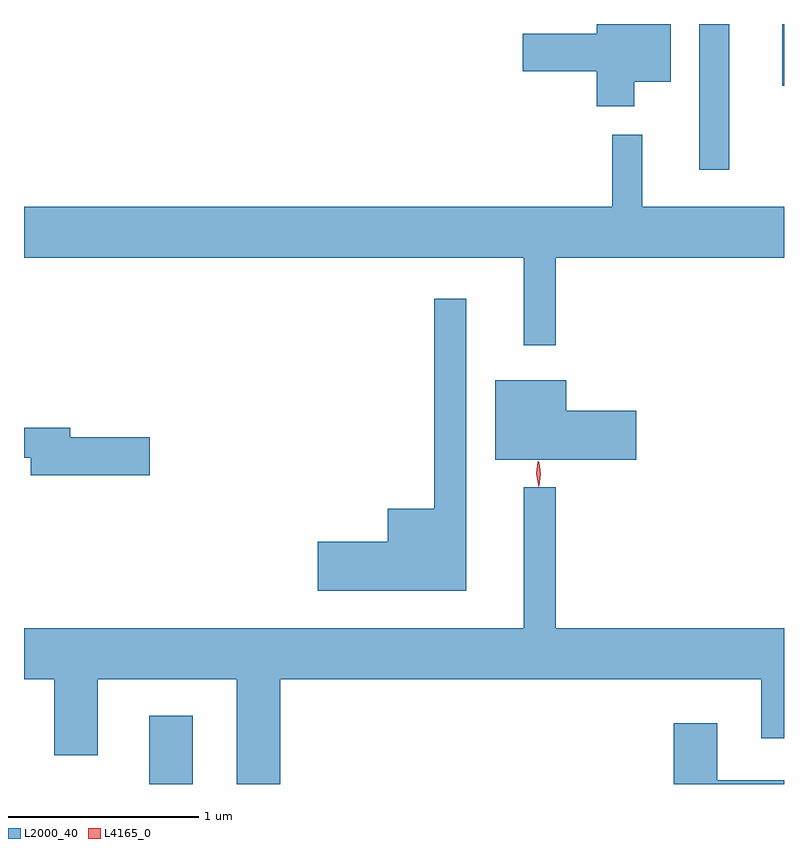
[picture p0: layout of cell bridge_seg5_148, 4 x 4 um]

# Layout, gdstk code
import gdstk
lib = gdstk.Library(unit=1e-6, precision=1e-09)
def R(c, l, rs):  # rectangles x0, y0, x1, y1
    for r in rs: c.add(gdstk.rectangle(r[:2], r[2:], *l))
def P(c, l, *ps):  # polygons
    for p in ps: c.add(gdstk.Polygon(p, *l))
L2000_40 = (2000, 40)
L4165_0 = (4165, 0)

bridge_seg5_148 = lib.new_cell('bridge_seg5_148')
R(bridge_seg5_148, L2000_40, [(1128.311,1407.405,1128.539,1407.764), (1131.206,1410.638,1131.364,1411.405), (1131.641,1411.081,1131.651,1411.405)])
P(bridge_seg5_148, L2000_40, [(1130.864,1411.101),(1131.054,1411.101),(1131.054,1411.405),(1130.666,1411.405),(1130.666,1411.354),(1130.276,1411.354),(1130.276,1411.156),(1130.666,1411.156),(1130.666,1410.971),(1130.864,1410.971)],
  [(1130.449,1410.176),(1131.651,1410.176),(1131.651,1410.444),(1130.904,1410.444),(1130.904,1410.823),(1130.746,1410.823),(1130.746,1410.444),(1127.651,1410.444),(1127.651,1410.176),(1130.281,1410.176),(1130.281,1409.713),(1130.449,1409.713)],
  [(1129.979,1409.958),(1129.811,1409.958),(1129.811,1408.854),(1129.566,1408.854),(1129.566,1408.679),(1129.196,1408.679),(1129.196,1408.421),(1129.979,1408.421)],
  [(1130.874,1409.369),(1130.504,1409.369),(1130.504,1409.529),(1130.131,1409.529),(1130.131,1409.111),(1130.874,1409.111)],
  [(1128.314,1409.229),(1127.894,1409.229),(1127.894,1409.279),(1127.651,1409.279),(1127.651,1409.121),(1127.686,1409.121),(1127.686,1409.031),(1128.314,1409.031)],
  [(1128.999,1407.956),(1131.531,1407.956),(1131.531,1407.646),(1131.651,1407.646),(1131.651,1408.224),(1130.449,1408.224),(1130.449,1408.968),(1130.281,1408.968),(1130.281,1408.224),(1127.651,1408.224),(1127.651,1407.956),(1127.811,1407.956),(1127.811,1407.556),(1128.039,1407.556),(1128.039,1407.956),(1128.771,1407.956),(1128.771,1407.405),(1128.999,1407.405)],
  [(1131.651,1407.424),(1131.299,1407.424),(1131.299,1407.724),(1131.071,1407.724),(1131.071,1407.405),(1131.651,1407.405)])
P(bridge_seg5_148, L4165_0, [(1130.359,1408.97),(1130.348,1409.038),(1130.356,1409.105),(1130.357,1409.105),(1130.357,1409.105),(1130.368,1409.038),(1130.36,1408.97),(1130.36,1408.97)],
  [(1130.362,1408.974),(1130.352,1409.036),(1130.361,1409.099),(1130.362,1409.099),(1130.362,1409.099),(1130.372,1409.036),(1130.363,1408.974),(1130.363,1408.974)])

lib.write_gds('bridge_seg5_148.gds')
